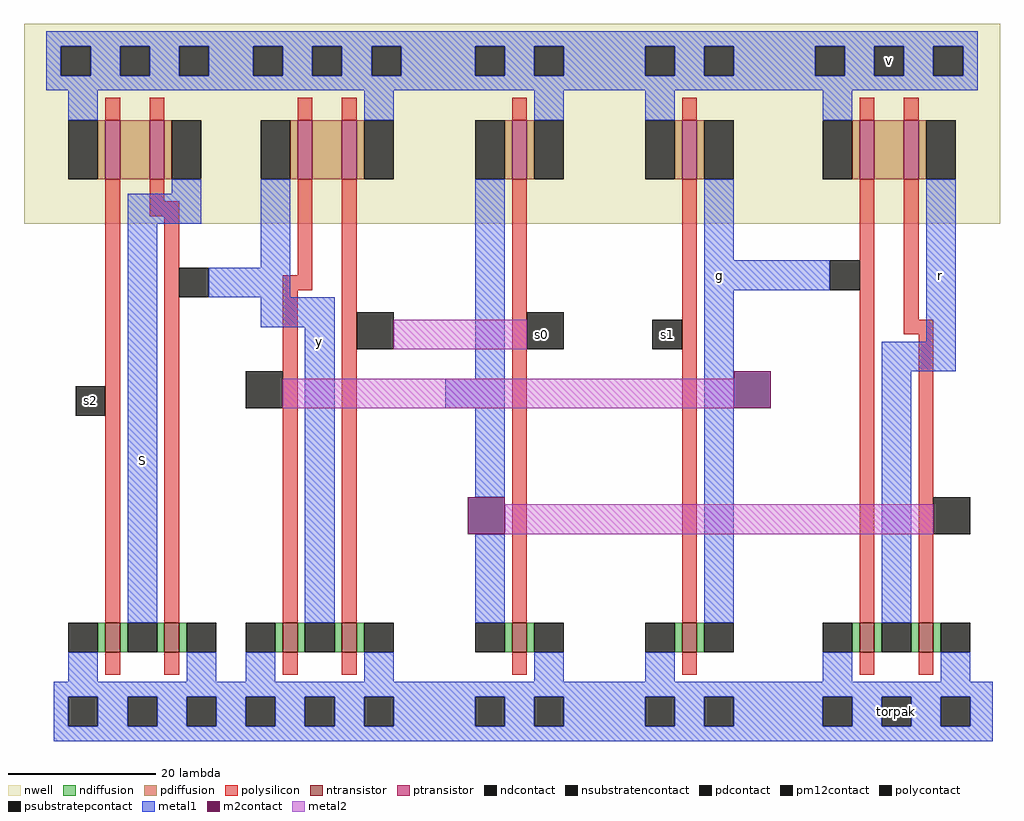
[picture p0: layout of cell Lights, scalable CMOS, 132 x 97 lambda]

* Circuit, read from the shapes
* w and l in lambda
.subckt Lights S g r s0 s1 s2 torpak v y
M1 S s2 torpak torpak nfet w=4 l=2
M2 torpak y S torpak nfet w=4 l=2
M3 y g torpak torpak nfet w=4 l=2
M4 torpak s0 y torpak nfet w=4 l=2
M5 torpak s0 n1 torpak nfet w=4 l=2
M6 g s1 torpak torpak nfet w=4 l=2
M7 r g torpak torpak nfet w=4 l=2
M8 torpak n1 r torpak nfet w=4 l=2
M9 n2 s2 v v pfet w=8 l=2
M10 S y n2 v pfet w=8 l=2
M11 n3 g y v pfet w=8 l=2
M12 v s0 n3 v pfet w=8 l=2
M13 v s0 n1 v pfet w=8 l=2
M14 g s1 v v pfet w=8 l=2
M15 n4 g v v pfet w=8 l=2
M16 r n1 n4 v pfet w=8 l=2
.ends

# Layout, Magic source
magic
tech scmos
<< nwell >>
rect -117 53 15 80
<< ntransistor >>
rect -106 -5 -104 -1
rect -98 -5 -96 -1
rect -82 -5 -80 -1
rect -74 -5 -72 -1
rect -51 -5 -49 -1
rect -28 -5 -26 -1
rect -4 -5 -2 -1
rect 4 -5 6 -1
<< ptransistor >>
rect -106 59 -104 67
rect -100 59 -98 67
rect -80 59 -78 67
rect -74 59 -72 67
rect -51 59 -49 67
rect -28 59 -26 67
rect -4 59 -2 67
rect 2 59 4 67
<< ndiffusion >>
rect -107 -5 -106 -1
rect -104 -5 -103 -1
rect -99 -5 -98 -1
rect -96 -5 -95 -1
rect -83 -5 -82 -1
rect -80 -5 -79 -1
rect -75 -5 -74 -1
rect -72 -5 -71 -1
rect -52 -5 -51 -1
rect -49 -5 -48 -1
rect -29 -5 -28 -1
rect -26 -5 -25 -1
rect -5 -5 -4 -1
rect -2 -5 -1 -1
rect 3 -5 4 -1
rect 6 -5 7 -1
<< pdiffusion >>
rect -107 59 -106 67
rect -104 59 -100 67
rect -98 59 -97 67
rect -81 59 -80 67
rect -78 59 -74 67
rect -72 59 -71 67
rect -52 59 -51 67
rect -49 59 -48 67
rect -29 59 -28 67
rect -26 59 -25 67
rect -5 59 -4 67
rect -2 59 2 67
rect 4 59 5 67
<< ndcontact >>
rect -111 -5 -107 -1
rect -103 -5 -99 -1
rect -95 -5 -91 -1
rect -87 -5 -83 -1
rect -79 -5 -75 -1
rect -71 -5 -67 -1
rect -56 -5 -52 -1
rect -48 -5 -44 -1
rect -33 -5 -29 -1
rect -25 -5 -21 -1
rect -9 -5 -5 -1
rect -1 -5 3 -1
rect 7 -5 11 -1
<< pdcontact >>
rect -111 59 -107 67
rect -97 59 -93 67
rect -85 59 -81 67
rect -71 59 -67 67
rect -56 59 -52 67
rect -48 59 -44 67
rect -33 59 -29 67
rect -25 59 -21 67
rect -9 59 -5 67
rect 5 59 9 67
<< psubstratepcontact >>
rect -111 -15 -107 -11
rect -103 -15 -99 -11
rect -95 -15 -91 -11
rect -87 -15 -83 -11
rect -79 -15 -75 -11
rect -71 -15 -67 -11
rect -56 -15 -52 -11
rect -48 -15 -44 -11
rect -33 -15 -29 -11
rect -25 -15 -21 -11
rect -9 -15 -5 -11
rect -1 -15 3 -11
rect 7 -15 11 -11
<< nsubstratencontact >>
rect -112 73 -108 77
rect -104 73 -100 77
rect -96 73 -92 77
rect -86 73 -82 77
rect -78 73 -74 77
rect -70 73 -66 77
rect -56 73 -52 77
rect -48 73 -44 77
rect -33 73 -29 77
rect -25 73 -21 77
rect -10 73 -6 77
rect -2 73 2 77
rect 6 73 10 77
<< polysilicon >>
rect -106 67 -104 70
rect -100 67 -98 70
rect -80 67 -78 70
rect -74 67 -72 70
rect -51 67 -49 70
rect -28 67 -26 70
rect -4 67 -2 70
rect 2 67 4 70
rect -106 -1 -104 59
rect -100 56 -98 59
rect -100 54 -96 56
rect -98 -1 -96 54
rect -80 46 -78 59
rect -82 44 -78 46
rect -82 -1 -80 44
rect -74 -1 -72 59
rect -51 -1 -49 59
rect -28 -1 -26 59
rect -4 -1 -2 59
rect 2 40 4 59
rect 2 38 6 40
rect 4 -1 6 38
rect -106 -8 -104 -5
rect -98 -8 -96 -5
rect -82 -8 -80 -5
rect -74 -8 -72 -5
rect -51 -8 -49 -5
rect -28 -8 -26 -5
rect -4 -8 -2 -5
rect 4 -8 6 -5
<< polycontact >>
rect -110 27 -106 31
rect -96 43 -92 47
rect -32 36 -28 40
rect -8 44 -4 48
<< metal1 >>
rect -114 77 12 79
rect -114 73 -112 77
rect -108 73 -104 77
rect -100 73 -96 77
rect -92 73 -86 77
rect -82 73 -78 77
rect -74 73 -70 77
rect -66 73 -56 77
rect -52 73 -48 77
rect -44 73 -33 77
rect -29 73 -25 77
rect -21 73 -10 77
rect -6 73 -2 77
rect 2 73 6 77
rect 10 73 12 77
rect -114 71 12 73
rect -111 67 -107 71
rect -71 67 -67 71
rect -48 67 -44 71
rect -97 57 -93 59
rect -103 53 -93 57
rect -33 67 -29 71
rect -9 67 -5 71
rect -103 -1 -99 53
rect -85 47 -81 59
rect -92 43 -81 47
rect -85 39 -75 43
rect -79 -1 -75 39
rect -56 32 -52 59
rect -25 48 -21 59
rect -25 44 -8 48
rect -60 28 -52 32
rect -56 16 -52 28
rect -56 -1 -52 11
rect -25 -1 -21 44
rect 5 37 9 59
rect -1 33 9 37
rect -1 -1 3 33
rect -111 -9 -107 -5
rect -95 -9 -91 -5
rect -87 -9 -83 -5
rect -71 -9 -67 -5
rect -48 -9 -44 -5
rect -33 -9 -29 -5
rect -9 -9 -5 -5
rect 7 -9 11 -5
rect -113 -11 14 -9
rect -113 -15 -111 -11
rect -107 -15 -103 -11
rect -99 -15 -95 -11
rect -91 -15 -87 -11
rect -83 -15 -79 -11
rect -75 -15 -71 -11
rect -67 -15 -56 -11
rect -52 -15 -48 -11
rect -44 -15 -33 -11
rect -29 -15 -25 -11
rect -21 -15 -9 -11
rect -5 -15 -1 -11
rect 3 -15 7 -11
rect 11 -15 14 -11
rect -113 -17 14 -15
<< m2contact >>
rect -57 11 -52 16
rect -21 28 -16 33
<< pm12contact >>
rect -87 28 -82 33
rect -72 36 -67 41
rect -49 36 -44 41
rect 6 11 11 16
<< metal2 >>
rect -67 36 -49 40
rect -82 28 -21 32
rect -52 11 6 15
<< labels >>
rlabel metal1 7 46 7 46 1 r
rlabel metal1 -23 46 -23 46 1 g
rlabel nsubstratencontact 0 75 0 75 5 v
rlabel psubstratepcontact 1 -13 1 -13 1 torpak
rlabel pm12contact -47 38 -47 38 1 s0
rlabel polycontact -30 38 -30 38 1 s1
rlabel polycontact -108 29 -108 29 1 s2
rlabel metal1 -77 37 -77 37 1 y
rlabel metal1 -101 21 -101 21 1 S
<< end >>
